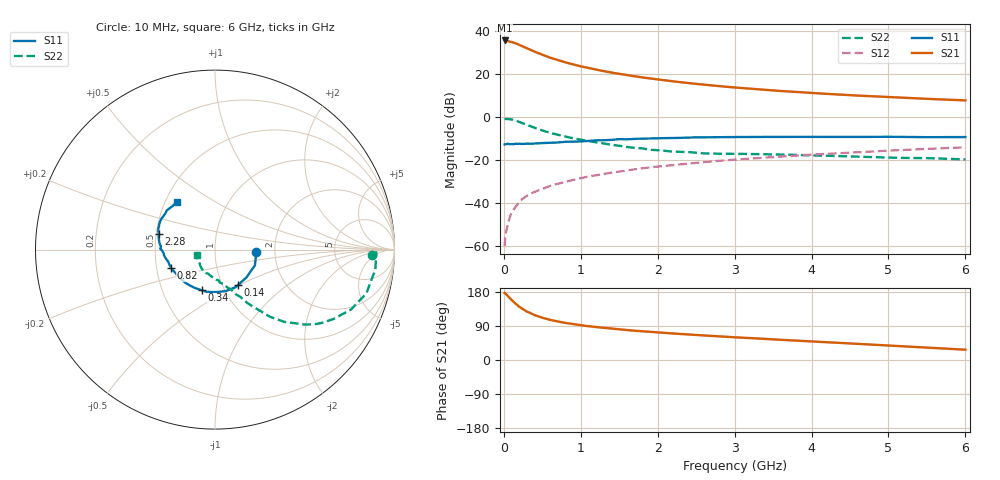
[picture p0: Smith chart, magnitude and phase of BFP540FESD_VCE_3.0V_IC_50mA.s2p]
! Infineon Technologies  Discrete & RF Semiconductors
! BFP540FESD
! VCE =  3.0 V,  IC =  50 mA
! Common Emitter S-Parameters:  Nov 2015
# GHz  S  MA  R  50
!  f  S11  S21  S12  S22
! GHz  MAG  ANG  MAG  ANG  MAG  ANG  MAG  ANG
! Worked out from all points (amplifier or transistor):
!   210 points, 10 MHz to 6 GHz, reference 50 ohm
!   highest |S21| = 35.5 dB at 10 MHz (marker M1)
!   |S21| within 3 dB of that: start of sweep to 260.8 MHz
!   unconditionally stable (mu >= 1): start of sweep to 17.3 MHz; 1.25 GHz to end of sweep
!   at 185 MHz: K = 0.48, MSG = 36.9 dB, |S12| = -40.2 dB
!   at 1.52 GHz: K = 1.03, MAG = 21.5 dB, |S12| = -25.2 dB
!   at 6 GHz: K = 1.16, MAG = 8.5 dB, |S12| = -14.1 dB
!   S11 on the Smith chart (normalised r, x): 10 MHz: 1.60, -0.05; 140 MHz: 1.18, -0.50; 340 MHz: 0.78, -0.38; 820 MHz: 0.60, -0.13; 2.28 GHz: 0.51, +0.10; 6 GHz: 0.57, +0.34
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0.01  0.2305 -3.8  59.51 177.1  0.001 108.7  0.8776 -1.9
0.02  0.2314 -10.9  57.35 175.7  0.0019 101.4  0.8988 -1.0
0.05  0.2392 -21.7  57.61 169.2  0.003 79.7  0.9003 -7.0
0.1  0.2337 -41.6  54.86 158.5  0.006 82.3  0.8781 -16.1
0.14  0.2358 -57.6  52.08 151.1  0.0076 81.5  0.8367 -22.2
0.15  0.2392 -61.5  51.53 149.1  0.008 81.3  0.8279 -23.8
0.2  0.2389 -75.5  47.11 140.6  0.0106 75.7  0.7657 -30.3
0.26  0.2368 -91.9  42.19 132.7  0.0132 75.0  0.6977 -36.5
0.3  0.2402 -101.2  39.19 127.7  0.0148 74.0  0.6526 -39.8
0.34  0.2382 -108.1  36.45 124.4  0.0162 73.5  0.614 -42.1
0.4  0.2419 -118.5  32.63 118.4  0.0182 73.0  0.5582 -46.2
0.5  0.2476 -130.9  27.7 111.3  0.0212 70.1  0.4837 -50.7
0.6  0.2519 -140.6  23.75 106.0  0.025 71.3  0.427 -53.5
0.82  0.2651 -157.0  18.05 97.2  0.0318 71.1  0.3421 -59.1
1.02  0.271 -166.4  14.66 91.3  0.0386 70.7  0.2915 -62.6
1.5  0.3046 179.1  9.977 80.8  0.0539 68.4  0.2142 -73.4
2.02  0.3215 167.7  7.32 72.4  0.0706 65.4  0.1681 -87.2
2.28  0.3268 164.1  6.447 68.9  0.079 63.7  0.155 -93.2
3.1  0.3421 154.4  4.671 58.9  0.1048 58.6  0.1387 -112.3
4.1  0.3431 147.3  3.508 47.9  0.1362 51.8  0.1267 -127.4
5.1  0.3444 139.5  2.834 37.0  0.1681 43.8  0.1126 -142.1
6  0.3409 128.8  2.42 27.2  0.197 36.2  0.1033 -163.1
